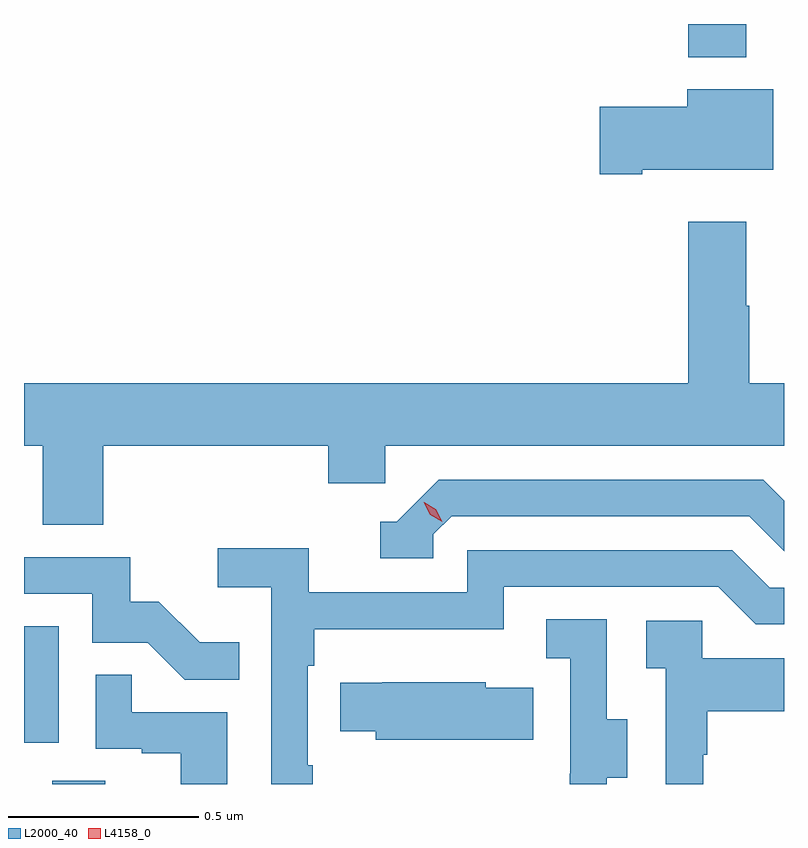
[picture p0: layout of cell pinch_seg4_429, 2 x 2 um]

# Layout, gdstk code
import gdstk
lib = gdstk.Library(unit=1e-6, precision=1e-09)
def R(c, l, rs):  # rectangles x0, y0, x1, y1
    for r in rs: c.add(gdstk.rectangle(r[:2], r[2:], *l))
def P(c, l, *ps):  # polygons
    for p in ps: c.add(gdstk.Polygon(p, *l))
L2000_40 = (2000, 40)
L4158_0 = (4158, 0)

pinch_seg4_429 = lib.new_cell('pinch_seg4_429')
R(pinch_seg4_429, L2000_40, [(944.909,779.946,945.049,779.954), (944.835,780.054,944.926,780.361), (946.583,781.859,946.735,781.946)])
P(pinch_seg4_429, L2000_40, [(946.462,781.562),(946.807,781.562),(946.807,781.774),(946.58,781.774),(946.58,781.728),(946.35,781.728),(946.35,781.55),(946.462,781.55)],
  [(945.044,780.836),(945.635,780.836),(945.635,780.738),(945.786,780.738),(945.786,780.836),(946.835,780.836),(946.835,781),(946.743,781),(946.743,781.205),(946.735,781.205),(946.735,781.426),(946.583,781.426),(946.583,781),(944.835,781),(944.835,780.836),(944.884,780.836),(944.884,780.628),(945.044,780.628)],
  [(945.912,780.603),(945.96,780.651),(946.743,780.651),(946.835,780.559),(946.835,780.692),(946.78,780.747),(945.927,780.747),(945.816,780.636),(945.773,780.636),(945.773,780.54),(945.912,780.54)],
  [(945.595,779.996),(945.582,779.996),(945.582,780.257),(945.599,780.257),(945.599,780.353),(946.098,780.353),(946.098,780.465),(946.662,780.465),(946.761,780.366),(946.835,780.366),(946.835,780.462),(946.798,780.462),(946.699,780.561),(946.002,780.561),(946.002,780.45),(945.584,780.45),(945.584,780.566),(945.345,780.566),(945.345,780.464),(945.486,780.464),(945.486,779.946),(945.595,779.946)],
  [(945.401,780.319),(945.297,780.319),(945.19,780.426),(945.114,780.426),(945.114,780.543),(944.835,780.543),(944.835,780.447),(945.015,780.447),(945.015,780.318),(945.16,780.318),(945.258,780.22),(945.401,780.22)],
  [(946.369,779.962),(946.423,779.962),(946.423,780.117),(946.368,780.117),(946.368,780.38),(946.209,780.38),(946.209,780.277),(946.272,780.277),(946.272,779.973),(946.271,779.973),(946.271,779.946),(946.369,779.946)],
  [(946.623,780.023),(946.633,780.023),(946.633,780.137),(946.835,780.137),(946.835,780.277),(946.62,780.277),(946.62,780.375),(946.473,780.375),(946.473,780.251),(946.524,780.251),(946.524,779.946),(946.623,779.946)],
  [(945.37,780.135),(945.119,780.135),(945.119,780.233),(945.024,780.233),(945.024,780.039),(945.145,780.039),(945.145,780.027),(945.248,780.027),(945.248,779.946),(945.37,779.946)],
  [(946.175,780.199),(946.05,780.199),(946.05,780.214),(945.778,780.214),(945.778,780.213),(945.667,780.213),(945.667,780.085),(945.761,780.085),(945.761,780.062),(946.175,780.062)])
P(pinch_seg4_429, L4158_0, [(945.935,780.636),(945.904,780.655),(945.887,780.688),(945.887,780.688),(945.888,780.688),(945.919,780.669),(945.935,780.636),(945.935,780.636)])

lib.write_gds('pinch_seg4_429.gds')
